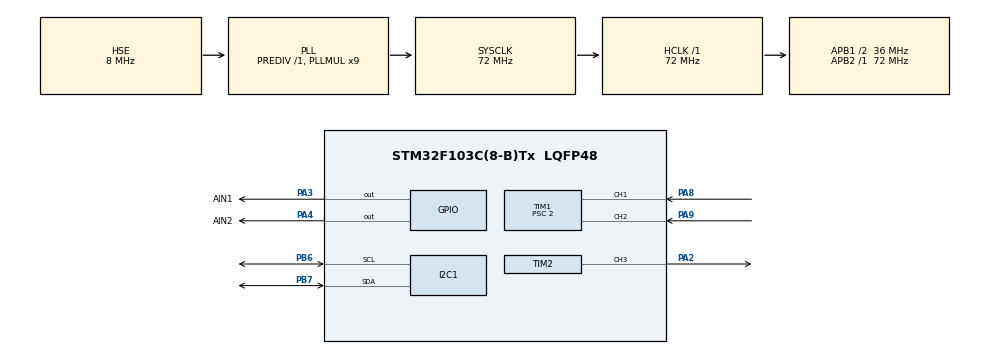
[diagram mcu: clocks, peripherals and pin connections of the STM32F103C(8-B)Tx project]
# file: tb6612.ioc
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Mcu.Family=STM32F1
Mcu.Name=STM32F103C(8-B)Tx
Mcu.Package=LQFP48
NVIC.PriorityGroup=NVIC_PRIORITYGROUP_4
PA13.Mode=Serial_Wire
PA13.Signal=SYS_JTMS-SWDIO
PA14.Mode=Serial_Wire
PA14.Signal=SYS_JTCK-SWCLK
PA2.Signal=S_TIM2_CH3
PA3.GPIO_Label=AIN1
PA3.GPIO_PuPd=GPIO_PULLUP
PA3.Signal=GPIO_Output
PA4.GPIO_Label=AIN2
PA4.GPIO_PuPd=GPIO_PULLUP
PA4.Signal=GPIO_Output
PA8.Signal=S_TIM1_CH1
PA9.Signal=S_TIM1_CH2
PB6.Mode=I2C
PB6.Signal=I2C1_SCL
PB7.Mode=I2C
PB7.Signal=I2C1_SDA
PD0-OSC_IN.Mode=HSE-External-Oscillator
PD0-OSC_IN.Signal=RCC_OSC_IN
PD1-OSC_OUT.Mode=HSE-External-Oscillator
PD1-OSC_OUT.Signal=RCC_OSC_OUT
ProjectManager.HeapSize=0x200
ProjectManager.StackSize=0x400
ProjectManager.TargetToolchain=STM32CubeIDE
RCC.AHBFreq_Value=72000000
RCC.APB1CLKDivider=RCC_HCLK_DIV2
RCC.APB1Freq_Value=36000000
RCC.APB1TimFreq_Value=72000000
RCC.APB2Freq_Value=72000000
RCC.APB2TimFreq_Value=72000000
RCC.HCLKFreq_Value=72000000
RCC.PLLMUL=RCC_PLL_MUL9
RCC.PLLSourceVirtual=RCC_PLLSOURCE_HSE
RCC.SYSCLKFreq_VALUE=72000000
RCC.SYSCLKSource=RCC_SYSCLKSOURCE_PLLCLK
RCC.USBFreq_Value=72000000
SH.S_TIM1_CH1.0=TIM1_CH1,Encoder_Interface
SH.S_TIM1_CH2.0=TIM1_CH2,Encoder_Interface
SH.S_TIM2_CH3.0=TIM2_CH3,PWM Generation3 CH3
TIM1.IC1Filter=15
TIM1.IC2Filter=15
TIM1.Prescaler=2
TIM2.Channel-PWM\ Generation3\ CH3=TIM_CHANNEL_3
TIM2.Period=100 - 1
TIM2.Prescaler=72 - 1
VP_TIM2_VS_ClockSourceINT.Mode=Internal
board=custom

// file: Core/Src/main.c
/* USER CODE BEGIN Header */
/**
  ******************************************************************************
  * @file           : main.c
  * @brief          : Main program body
  ******************************************************************************
  * @attention
  *
  * Copyright (c) 2026 STMicroelectronics.
  * All rights reserved.
  *
  * This software is licensed under terms that can be found in the LICENSE file
  * in the root directory of this software component.
  * If no LICENSE file comes with this software, it is provided AS-IS.
  *
  ******************************************************************************
  */
/* USER CODE END Header */
#include "main.h"
#include "i2c.h"
#include "tim.h"
#include "gpio.h"

/* USER CODE BEGIN Includes */
#include "stdio.h"
#include "oled.h"
#include "TB6612.h"
/* USER CODE END Includes */

/* USER CODE BEGIN PD */
#define count_mid 5
/* USER CODE END PD */

void SystemClock_Config(void);

int main(void)
{

  /* MCU Configuration--------------------------------------------------------*/

  /* Reset of all peripherals, Initializes the Flash interface and the Systick. */
  HAL_Init();

  /* Configure the system clock */
  SystemClock_Config();

  /* Initialize all configured peripherals */
  MX_GPIO_Init();
  MX_I2C1_Init();
  MX_TIM1_Init();
  MX_TIM2_Init();
  /* USER CODE BEGIN 2 */
  HAL_Delay(100);
  OLED_Init();
  TB6612_Init();
  HAL_TIM_Encoder_Start(&htim1, TIM_CHANNEL_ALL);
  __HAL_TIM_SET_COUNTER(&htim1, count_mid);
  int count = 0;
  int speed = 50;
  char message[40];

  /* ===== 电机自检：验证 PWM+方向链路是否正常（验证后可删除） ===== */
  OLED_NewFrame();
  OLED_PrintString(0, 0, "FWD 50%", &font16x16, OLED_COLOR_NORMAL);
  OLED_ShowFrame();
  TB6612_Forward(50);     // 正转 50% 占空比
  HAL_Delay(2000);

  OLED_NewFrame();
  OLED_PrintString(0, 0, "BWD 50%", &font16x16, OLED_COLOR_NORMAL);
  OLED_ShowFrame();
  TB6612_Backward(50);    // 反转 50% 占空比
  HAL_Delay(2000);

  TB6612_Coast();         // 停止
  /* ============================================================== */
  /* USER CODE END 2 */

  /* Infinite loop */
  /* USER CODE BEGIN WHILE */
  while (1)
  {
	  OLED_NewFrame();
	  count = __HAL_TIM_GET_COUNTER(&htim1);
	  if(count > 6000)
	  {
		  count = 0;
		  __HAL_TIM_SET_COUNTER(&htim1,0);
	  }
	  else
	  {
		  if(count > count_mid * 2)
		  {
			  count = count_mid * 2;
			  __HAL_TIM_SET_COUNTER(&htim1, count_mid * 2);
		  }
	  }

	  if (count < count_mid)
	  {
		  speed = (count_mid - count) * 100 / count_mid / 2;
		  TB6612_Backward(speed);
	  }
	  else
		{
		  speed = (count - count_mid) * 100 / count_mid / 2;
		  TB6612_Forward(speed);
		}
	  HAL_Delay(100);

	  sprintf(message,"counter = %d",count);
	  OLED_PrintString(13, 0, message, &font16x16, OLED_COLOR_NORMAL);
	  OLED_ShowFrame();
    /* USER CODE END WHILE */

  }
}

void SystemClock_Config(void)
{
  RCC_OscInitTypeDef RCC_OscInitStruct = {0};
  RCC_ClkInitTypeDef RCC_ClkInitStruct = {0};

  /** Initializes the RCC Oscillators according to the specified parameters
  * in the RCC_OscInitTypeDef structure.
  */
  RCC_OscInitStruct.OscillatorType = RCC_OSCILLATORTYPE_HSE;
  RCC_OscInitStruct.HSEState = RCC_HSE_ON;
  RCC_OscInitStruct.HSEPredivValue = RCC_HSE_PREDIV_DIV1;
  RCC_OscInitStruct.HSIState = RCC_HSI_ON;
  RCC_OscInitStruct.PLL.PLLState = RCC_PLL_ON;
  RCC_OscInitStruct.PLL.PLLSource = RCC_PLLSOURCE_HSE;
  RCC_OscInitStruct.PLL.PLLMUL = RCC_PLL_MUL9;
  if (HAL_RCC_OscConfig(&RCC_OscInitStruct) != HAL_OK)
  {
    Error_Handler();
  }

  /** Initializes the CPU, AHB and APB buses clocks
  */
  RCC_ClkInitStruct.ClockType = RCC_CLOCKTYPE_HCLK|RCC_CLOCKTYPE_SYSCLK
                              |RCC_CLOCKTYPE_PCLK1|RCC_CLOCKTYPE_PCLK2;
  RCC_ClkInitStruct.SYSCLKSource = RCC_SYSCLKSOURCE_PLLCLK;
  RCC_ClkInitStruct.AHBCLKDivider = RCC_SYSCLK_DIV1;
  RCC_ClkInitStruct.APB1CLKDivider = RCC_HCLK_DIV2;
  RCC_ClkInitStruct.APB2CLKDivider = RCC_HCLK_DIV1;

  if (HAL_RCC_ClockConfig(&RCC_ClkInitStruct, FLASH_LATENCY_2) != HAL_OK)
  {
    Error_Handler();
  }
}

void Error_Handler(void)
{
  __disable_irq();
  while (1)
  {
  }
}
